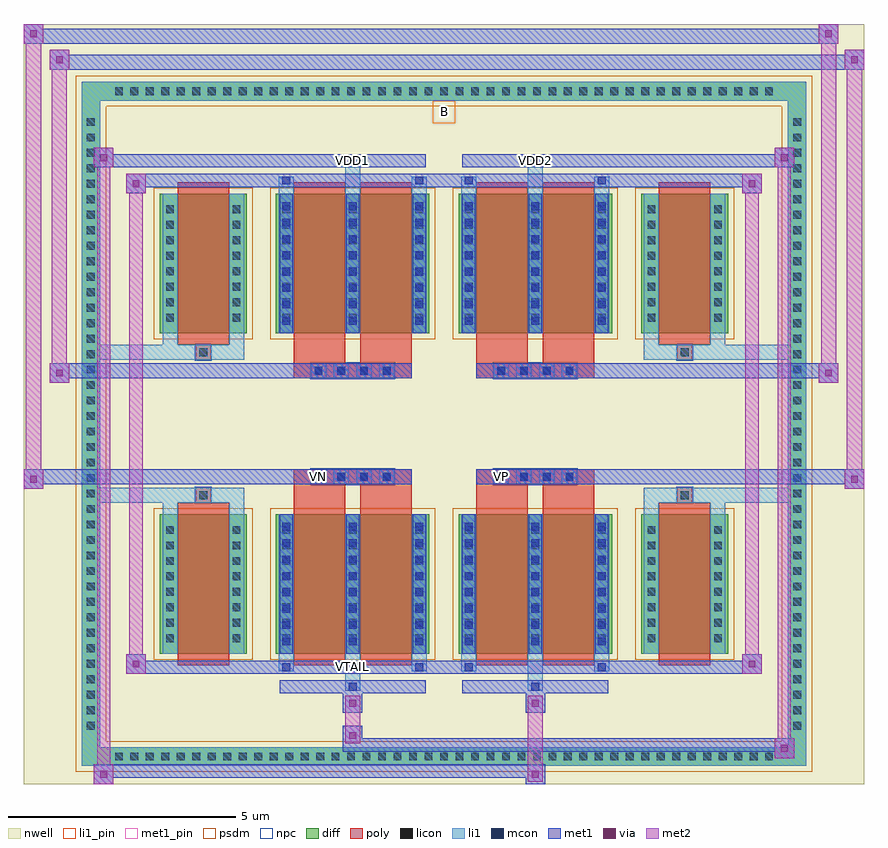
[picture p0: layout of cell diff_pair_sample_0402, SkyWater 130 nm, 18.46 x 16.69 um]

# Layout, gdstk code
import gdstk
lib = gdstk.Library(unit=1e-6, precision=5e-09)
def R(c, l, rs):  # rectangles x0, y0, x1, y1
    for r in rs: c.add(gdstk.rectangle(r[:2], r[2:], *l))
def A(c, l, x, y, w, h, nx, ny, dx, dy):  # array of equal rectangles
    R(c, l, [(x+i*dx, y+j*dy, x+i*dx+w, y+j*dy+h) for i in range(nx) for j in range(ny)])
def P(c, l, *ps):  # polygons
    for p in ps: c.add(gdstk.Polygon(p, *l))
nwell = (64, 20)
diff = (65, 20)
poly = (66, 20)
licon = (66, 44)
li1_pin = (67, 16)
li1 = (67, 20)
mcon = (67, 44)
met1_pin = (68, 16)
met1 = (68, 20)
via = (68, 44)
met2 = (69, 20)
psdm = (94, 20)
npc = (95, 20)

diff_pair_sample_0402 = lib.new_cell('diff_pair_sample_0402')
R(diff_pair_sample_0402, nwell, [(-9.23,-7.91,9.23,8.78), (-6.55,-6.1,-0.01,-0.8), (0.01,-6.1,6.55,-0.8), (-6.55,0.8,-0.01,6.1), (0.01,0.8,6.55,6.1)])
A(diff_pair_sample_0402, diff, -7.345, -7.51, 0.41, 0.41, 43, 2, 0.34, 14.61)
A(diff_pair_sample_0402, diff, -7.96, -6.835, 0.41, 0.41, 1, 40, 0, 0.34)
A(diff_pair_sample_0402, diff, 7.55, -6.835, 0.41, 0.41, 1, 40, 0, 0.34)
R(diff_pair_sample_0402, diff, [(-7.345,-7.51,7.345,-7.1), (-7.96,-6.835,-7.55,6.835), (7.55,-6.835,7.96,6.835), (-6.24,-5.055,-4.33,-1.985), (-3.69,-5.055,-0.32,-1.985), (0.32,-5.055,3.69,-1.985), (4.33,-5.055,6.24,-1.985), (-6.24,1.985,-4.33,5.055), (-3.69,1.985,-0.32,5.055), (0.32,1.985,3.69,5.055), (4.33,1.985,6.24,5.055), (-7.345,7.1,7.345,7.51)])
P(diff_pair_sample_0402, diff, [(7.96,7.51),(-7.96,7.51),(-7.96,-7.1),(-7.55,-7.1),(-7.55,7.1),(7.55,7.1),(7.55,-7.1),(-7.55,-7.1),(-7.96,-7.1),(-7.96,-7.51),(7.96,-7.51)])
A(diff_pair_sample_0402, poly, -2.92, -1.33, 0.33, 0.33, 4, 2, 0.5, 2.33)
A(diff_pair_sample_0402, poly, 1.09, -1.33, 0.33, 0.33, 4, 2, 0.5, 2.33)
R(diff_pair_sample_0402, poly, [(-5.85,-5.305,-4.72,-1.735), (-3.3,-5.305,-2.17,-1.735), (-1.84,-5.305,-0.71,-1.735), (0.71,-5.305,1.84,-1.735), (2.17,-5.305,3.3,-1.735), (4.72,-5.305,5.85,-1.735), (-5.45,-1.735,-5.12,-1.405), (-5.45,-1.735,-5.12,-1.405), (-3.3,-1.735,-2.17,-1.33), (-1.84,-1.735,-0.71,-1.33), (0.71,-1.735,1.84,-1.33), (2.17,-1.735,3.3,-1.33), (5.12,-1.735,5.45,-1.405), (5.12,-1.735,5.45,-1.405), (-3.3,-1.33,-0.71,-1), (0.71,-1.33,3.3,-1), (-3.3,1,-0.71,1.33), (0.71,1,3.3,1.33), (-3.3,1.33,-2.17,1.735), (-1.84,1.33,-0.71,1.735), (0.71,1.33,1.84,1.735), (2.17,1.33,3.3,1.735), (-5.45,1.405,-5.12,1.735), (-5.45,1.405,-5.12,1.735), (5.12,1.405,5.45,1.735), (5.12,1.405,5.45,1.735), (-5.85,1.735,-4.72,5.305), (-3.3,1.735,-2.17,5.305), (-1.84,1.735,-0.71,5.305), (0.71,1.735,1.84,5.305), (2.17,1.735,3.3,5.305), (4.72,1.735,5.85,5.305)])
A(diff_pair_sample_0402, licon, -7.225, -7.39, 0.17, 0.17, 43, 2, 0.34, 14.61)
A(diff_pair_sample_0402, licon, -7.84, -6.715, 0.17, 0.17, 1, 40, 0, 0.34)
A(diff_pair_sample_0402, licon, 7.67, -6.715, 0.17, 0.17, 1, 40, 0, 0.34)
A(diff_pair_sample_0402, licon, -6.1, -4.795, 0.17, 0.17, 1, 8, 0, 0.34)
A(diff_pair_sample_0402, licon, -4.64, -4.795, 0.17, 0.17, 1, 8, 0, 0.34)
A(diff_pair_sample_0402, licon, -3.55, -4.795, 0.17, 0.17, 3, 8, 1.46, 0.34)
A(diff_pair_sample_0402, licon, 0.46, -4.795, 0.17, 0.17, 3, 8, 1.46, 0.34)
A(diff_pair_sample_0402, licon, 4.47, -4.795, 0.17, 0.17, 1, 8, 0, 0.34)
A(diff_pair_sample_0402, licon, 5.93, -4.795, 0.17, 0.17, 1, 8, 0, 0.34)
A(diff_pair_sample_0402, licon, -2.84, -1.25, 0.17, 0.17, 4, 2, 0.5, 2.33)
A(diff_pair_sample_0402, licon, 1.17, -1.25, 0.17, 0.17, 4, 2, 0.5, 2.33)
A(diff_pair_sample_0402, licon, -6.1, 2.245, 0.17, 0.17, 1, 8, 0, 0.34)
A(diff_pair_sample_0402, licon, -4.64, 2.245, 0.17, 0.17, 1, 8, 0, 0.34)
A(diff_pair_sample_0402, licon, -3.55, 2.245, 0.17, 0.17, 3, 8, 1.46, 0.34)
A(diff_pair_sample_0402, licon, 0.46, 2.245, 0.17, 0.17, 3, 8, 1.46, 0.34)
A(diff_pair_sample_0402, licon, 4.47, 2.245, 0.17, 0.17, 1, 8, 0, 0.34)
A(diff_pair_sample_0402, licon, 5.93, 2.245, 0.17, 0.17, 1, 8, 0, 0.34)
R(diff_pair_sample_0402, licon, [(-5.37,-1.655,-5.2,-1.485), (5.2,-1.655,5.37,-1.485), (-5.37,1.485,-5.2,1.655), (5.2,1.485,5.37,1.655)])
R(diff_pair_sample_0402, li1_pin, [(-0.25,6.6,0.25,7.1)])
A(diff_pair_sample_0402, li1, -7.305, -7.47, 0.33, 0.33, 43, 2, 0.34, 14.61)
A(diff_pair_sample_0402, li1, -7.92, -6.795, 0.33, 0.33, 1, 40, 0, 0.34)
A(diff_pair_sample_0402, li1, 7.59, -6.795, 0.33, 0.33, 1, 40, 0, 0.34)
A(diff_pair_sample_0402, li1, -3.63, -5.055, 0.33, 3.07, 3, 2, 1.46, 7.04)
A(diff_pair_sample_0402, li1, 0.38, -5.055, 0.33, 3.07, 3, 2, 1.46, 7.04)
A(diff_pair_sample_0402, li1, -6.18, -4.875, 0.33, 0.33, 1, 8, 0, 0.34)
A(diff_pair_sample_0402, li1, -4.72, -4.875, 0.33, 0.33, 1, 8, 0, 0.34)
A(diff_pair_sample_0402, li1, -3.63, -4.875, 0.33, 0.33, 3, 8, 1.46, 0.34)
A(diff_pair_sample_0402, li1, 0.38, -4.875, 0.33, 0.33, 3, 8, 1.46, 0.34)
A(diff_pair_sample_0402, li1, 4.39, -4.875, 0.33, 0.33, 1, 8, 0, 0.34)
A(diff_pair_sample_0402, li1, 5.85, -4.875, 0.33, 0.33, 1, 8, 0, 0.34)
A(diff_pair_sample_0402, li1, -3.55, -4.865, 0.17, 0.17, 3, 8, 1.46, 0.36)
A(diff_pair_sample_0402, li1, -3.55, -4.865, 0.17, 2.69, 3, 2, 1.46, 7.04)
A(diff_pair_sample_0402, li1, 0.46, -4.865, 0.17, 0.17, 3, 8, 1.46, 0.36)
A(diff_pair_sample_0402, li1, 0.46, -4.865, 0.17, 2.69, 3, 2, 1.46, 7.04)
A(diff_pair_sample_0402, li1, -2.92, -1.33, 0.33, 0.33, 4, 2, 0.5, 2.33)
A(diff_pair_sample_0402, li1, 1.09, -1.33, 0.33, 0.33, 4, 2, 0.5, 2.33)
A(diff_pair_sample_0402, li1, -6.18, 2.165, 0.33, 0.33, 1, 8, 0, 0.34)
A(diff_pair_sample_0402, li1, -4.72, 2.165, 0.33, 0.33, 1, 8, 0, 0.34)
A(diff_pair_sample_0402, li1, -3.63, 2.165, 0.33, 0.33, 3, 8, 1.46, 0.34)
A(diff_pair_sample_0402, li1, 0.38, 2.165, 0.33, 0.33, 3, 8, 1.46, 0.34)
A(diff_pair_sample_0402, li1, 4.39, 2.165, 0.33, 0.33, 1, 8, 0, 0.34)
A(diff_pair_sample_0402, li1, 5.85, 2.165, 0.33, 0.33, 1, 8, 0, 0.34)
A(diff_pair_sample_0402, li1, -3.55, 2.175, 0.17, 0.17, 3, 8, 1.46, 0.36)
A(diff_pair_sample_0402, li1, 0.46, 2.175, 0.17, 0.17, 3, 8, 1.46, 0.36)
R(diff_pair_sample_0402, li1, [(-7.96,-7.51,-7.55,-7.1), (-7.96,-7.51,-7.55,-7.1), (-7.55,-7.51,7.55,-7.1), (7.55,-7.51,7.96,-7.1), (7.55,-7.51,7.96,-7.1), (-7.96,-7.1,-7.55,7.1), (7.55,-7.1,7.96,7.1), (-2.17,-5.86,-1.84,-5.055), (-2.09,-5.86,-1.92,-5.69), (1.84,-5.86,2.17,-5.055), (1.92,-5.86,2.09,-5.69), (-3.63,-5.43,-3.3,-5.055), (-3.55,-5.43,-3.38,-5.26), (-0.71,-5.43,-0.38,-5.055), (-0.63,-5.43,-0.46,-5.26), (0.38,-5.43,0.71,-5.055), (0.46,-5.43,0.63,-5.26), (3.3,-5.43,3.63,-5.055), (3.38,-5.43,3.55,-5.26), (-6.18,-5.055,-5.85,-1.985), (-4.72,-5.055,-4.39,-1.985), (4.39,-5.055,4.72,-1.985), (5.85,-5.055,6.18,-1.985), (-6.18,-1.985,-5.85,-1.405), (-4.72,-1.985,-4.39,-1.405), (4.39,-1.985,4.72,-1.405), (5.85,-1.985,6.18,-1.405), (-7.96,-1.735,-5.45,-1.405), (-6.18,-1.735,-5.45,-1.405), (-5.45,-1.735,-5.12,-1.405), (-5.12,-1.735,-4.39,-1.405), (4.39,-1.735,5.12,-1.405), (5.12,-1.735,5.45,-1.405), (5.12,-1.735,7.96,-1.405), (5.45,-1.735,6.18,-1.405), (-7.96,1.405,-5.45,1.735), (-6.18,1.405,-5.45,1.735), (-6.18,1.405,-5.85,1.985), (-5.45,1.405,-5.12,1.735), (-5.12,1.405,-4.39,1.735), (-4.72,1.405,-4.39,1.985), (4.39,1.405,5.12,1.735), (4.39,1.405,4.72,1.985), (5.12,1.405,5.45,1.735), (5.12,1.405,7.96,1.735), (5.45,1.405,6.18,1.735), (5.85,1.405,6.18,1.985), (-6.18,1.985,-5.85,5.055), (-4.72,1.985,-4.39,5.055), (4.39,1.985,4.72,5.055), (5.85,1.985,6.18,5.055), (-3.63,5.055,-3.3,5.43), (-2.17,5.055,-1.84,5.86), (-0.71,5.055,-0.38,5.43), (0.38,5.055,0.71,5.43), (1.84,5.055,2.17,5.86), (3.3,5.055,3.63,5.43), (-3.55,5.26,-3.38,5.43), (-0.63,5.26,-0.46,5.43), (0.46,5.26,0.63,5.43), (3.38,5.26,3.55,5.43), (-2.09,5.69,-1.92,5.86), (1.92,5.69,2.09,5.86), (-7.96,7.1,-7.55,7.51), (-7.96,7.1,-7.55,7.51), (-7.55,7.1,7.55,7.51), (7.55,7.1,7.96,7.51), (7.55,7.1,7.96,7.51)])
A(diff_pair_sample_0402, mcon, -3.55, -4.865, 0.17, 0.17, 3, 8, 1.46, 0.36)
A(diff_pair_sample_0402, mcon, 0.46, -4.865, 0.17, 0.17, 3, 8, 1.46, 0.36)
A(diff_pair_sample_0402, mcon, -2.84, -1.25, 0.17, 0.17, 4, 2, 0.5, 2.33)
A(diff_pair_sample_0402, mcon, 1.17, -1.25, 0.17, 0.17, 4, 2, 0.5, 2.33)
A(diff_pair_sample_0402, mcon, -3.55, 2.175, 0.17, 0.17, 3, 8, 1.46, 0.36)
A(diff_pair_sample_0402, mcon, 0.46, 2.175, 0.17, 0.17, 3, 8, 1.46, 0.36)
R(diff_pair_sample_0402, mcon, [(-2.09,-5.86,-1.92,-5.69), (1.92,-5.86,2.09,-5.69), (-3.55,-5.43,-3.38,-5.26), (-0.63,-5.43,-0.46,-5.26), (0.46,-5.43,0.63,-5.26), (3.38,-5.43,3.55,-5.26), (-3.55,5.26,-3.38,5.43), (-0.63,5.26,-0.46,5.43), (0.46,5.26,0.63,5.43), (3.38,5.26,3.55,5.43), (-2.09,5.69,-1.92,5.86), (1.92,5.69,2.09,5.86)])
R(diff_pair_sample_0402, met1_pin, [(-2.14,-5.47,-1.87,-5.2), (-2.89,-1.29,-2.62,-1.02), (1.12,-1.29,1.39,-1.02), (-2.14,5.65,-1.87,5.92), (1.87,5.65,2.14,5.92)])
A(diff_pair_sample_0402, met1, -3.61, -5.055, 0.29, 3.07, 3, 2, 1.46, 7.04)
A(diff_pair_sample_0402, met1, 0.4, -5.055, 0.29, 3.07, 3, 2, 1.46, 7.04)
A(diff_pair_sample_0402, met1, -3.61, -4.925, 0.29, 0.29, 3, 8, 1.46, 0.36)
A(diff_pair_sample_0402, met1, 0.4, -4.925, 0.29, 0.29, 3, 8, 1.46, 0.36)
A(diff_pair_sample_0402, met1, -2.9, -1.31, 0.29, 0.29, 4, 2, 0.5, 2.33)
A(diff_pair_sample_0402, met1, 1.11, -1.31, 0.29, 0.29, 4, 2, 0.5, 2.33)
A(diff_pair_sample_0402, met1, -3.61, 2.115, 0.29, 0.29, 3, 8, 1.46, 0.36)
A(diff_pair_sample_0402, met1, 0.4, 2.115, 0.29, 0.29, 3, 8, 1.46, 0.36)
R(diff_pair_sample_0402, met1, [(-7.69,-7.91,-7.26,-7.48), (1.79,-7.91,2.22,-7.48), (-7.69,-7.77,2.22,-7.48), (7.26,-7.34,7.69,-6.91), (-2.22,-7.2,7.69,-6.91), (-2.22,-7.06,-1.79,-6.63), (-2.22,-6.35,-1.79,-5.92), (1.79,-6.35,2.22,-5.92), (-3.61,-5.92,-0.4,-5.63), (-2.15,-5.92,-1.86,-5.63), (0.4,-5.92,3.61,-5.63), (1.86,-5.92,2.15,-5.63), (-6.98,-5.49,-6.55,-5.06), (-6.98,-5.49,-3.61,-5.2), (-3.61,-5.49,-3.32,-5.2), (-3.61,-5.49,-0.4,-5.2), (-0.69,-5.49,-0.4,-5.2), (-0.4,-5.49,0.4,-5.2), (0.4,-5.49,0.69,-5.2), (0.4,-5.49,3.61,-5.2), (3.32,-5.49,3.61,-5.2), (3.61,-5.49,6.98,-5.2), (6.55,-5.49,6.98,-5.06), (-9.23,-1.43,-8.8,-1), (8.8,-1.43,9.23,-1), (-9.23,-1.33,-0.71,-1), (-3.3,-1.33,-0.71,-1), (0.71,-1.33,3.3,-1), (0.71,-1.33,9.23,-1), (-8.66,0.9,-8.23,1.33), (8.23,0.9,8.66,1.33), (-8.66,1,-3.3,1.33), (-3.3,1,-0.71,1.33), (0.71,1,3.3,1.33), (3.3,1,8.66,1.33), (-6.98,5.06,-6.55,5.49), (6.55,5.06,6.98,5.49), (-6.98,5.2,-3.61,5.49), (-3.61,5.2,-3.32,5.49), (-3.61,5.2,-0.4,5.49), (-0.69,5.2,-0.4,5.49), (-0.4,5.2,0.4,5.49), (0.4,5.2,0.69,5.49), (0.4,5.2,3.61,5.49), (3.32,5.2,3.61,5.49), (3.61,5.2,6.98,5.49), (-7.69,5.63,-7.26,6.06), (-7.69,5.63,-3.61,5.92), (-3.61,5.63,-0.4,5.92), (-2.15,5.63,-1.86,5.92), (0.4,5.63,3.61,5.92), (1.86,5.63,2.15,5.92), (3.61,5.63,7.69,5.92), (7.26,5.63,7.69,6.06), (-8.66,7.78,-8.23,8.21), (-8.66,7.78,-6.55,8.11), (-6.55,7.78,6.55,8.11), (6.55,7.78,9.23,8.11), (8.8,7.78,9.23,8.21), (-9.23,8.35,-8.8,8.78), (-9.23,8.35,-6.55,8.68), (-6.55,8.35,6.55,8.68), (6.55,8.35,8.66,8.68), (8.23,8.35,8.66,8.78)])
R(diff_pair_sample_0402, via, [(-7.55,-7.77,-7.4,-7.62), (1.93,-7.77,2.08,-7.62), (7.4,-7.2,7.55,-7.05), (-2.08,-6.92,-1.93,-6.77), (-2.08,-6.21,-1.93,-6.06), (1.93,-6.21,2.08,-6.06), (-6.84,-5.35,-6.69,-5.2), (6.69,-5.35,6.84,-5.2), (-9.09,-1.29,-8.94,-1.14), (8.94,-1.29,9.09,-1.14), (-8.52,1.04,-8.37,1.19), (8.37,1.04,8.52,1.19), (-6.84,5.2,-6.69,5.35), (6.69,5.2,6.84,5.35), (-7.55,5.77,-7.4,5.92), (7.4,5.77,7.55,5.92), (-8.52,7.92,-8.37,8.07), (8.94,7.92,9.09,8.07), (-9.09,8.49,-8.94,8.64), (8.37,8.49,8.52,8.64)])
R(diff_pair_sample_0402, met2, [(-7.69,-7.91,-7.26,-7.48), (-7.62,-7.91,-7.33,6.06), (-7.33,-7.91,-7.26,-7.48), (-7.64,-7.86,-7.31,-7.53), (1.84,-7.86,2.17,-7.53), (1.84,-7.53,2.17,-6.3), (7.26,-7.34,7.69,-6.91), (7.33,-7.34,7.62,6.06), (7.62,-7.34,7.69,-6.91), (7.31,-7.29,7.64,-6.96), (-2.17,-7.01,-1.84,-6.68), (-2.17,-6.68,-1.84,-6.3), (-2.17,-6.3,-1.84,-5.97), (1.84,-6.3,2.17,-5.97), (-6.98,-5.49,-6.55,-5.06), (-6.91,-5.49,-6.62,5.49), (-6.62,-5.49,-6.55,-5.06), (6.55,-5.49,6.98,-5.06), (6.62,-5.49,6.91,5.49), (6.91,-5.49,6.98,-5.06), (-6.93,-5.44,-6.6,-5.11), (6.6,-5.44,6.93,-5.11), (-9.23,-1.43,-8.8,-1), (-9.18,-1.43,-8.85,8.78), (-8.85,-1.43,-8.8,-1), (8.8,-1.43,9.23,-1), (8.85,-1.43,9.18,8.21), (9.18,-1.43,9.23,-1), (-9.18,-1.38,-8.85,-1.05), (8.85,-1.38,9.18,-1.05), (-8.66,0.9,-8.23,1.33), (-8.61,0.9,-8.28,8.21), (-8.28,0.9,-8.23,1.33), (8.23,0.9,8.66,1.33), (8.28,0.9,8.61,8.78), (8.61,0.9,8.66,1.33), (-8.61,0.95,-8.28,1.28), (8.28,0.95,8.61,1.28), (-6.98,5.06,-6.55,5.49), (-6.62,5.06,-6.55,5.49), (6.55,5.06,6.98,5.49), (6.91,5.06,6.98,5.49), (-6.93,5.11,-6.6,5.44), (6.6,5.11,6.93,5.44), (-7.69,5.63,-7.26,6.06), (-7.33,5.63,-7.26,6.06), (7.26,5.63,7.69,6.06), (7.62,5.63,7.69,6.06), (-7.64,5.68,-7.31,6.01), (7.31,5.68,7.64,6.01), (-8.66,7.78,-8.23,8.21), (-8.28,7.78,-8.23,8.21), (8.8,7.78,9.23,8.21), (9.18,7.78,9.23,8.21), (-8.61,7.83,-8.28,8.16), (8.85,7.83,9.18,8.16), (-9.23,8.35,-8.8,8.78), (-8.85,8.35,-8.8,8.78), (8.23,8.35,8.66,8.78), (8.61,8.35,8.66,8.78), (-9.18,8.4,-8.85,8.73), (8.28,8.4,8.61,8.73)])
R(diff_pair_sample_0402, psdm, [(-6.37,-5.185,-4.2,-1.855), (-3.82,-5.185,-0.19,-1.855), (0.19,-5.185,3.82,-1.855), (4.2,-5.185,6.37,-1.855), (-6.37,1.855,-4.2,5.185), (-3.82,1.855,-0.19,5.185), (0.19,1.855,3.82,5.185), (4.2,1.855,6.37,5.185)])
P(diff_pair_sample_0402, psdm, [(8.09,7.64),(-8.09,7.64),(-8.09,-6.97),(-7.42,-6.97),(-7.42,6.97),(7.42,6.97),(7.42,-6.97),(-7.42,-6.97),(-8.09,-6.97),(-8.09,-7.64),(8.09,-7.64)])
A(diff_pair_sample_0402, npc, -2.94, -1.35, 0.37, 0.37, 4, 2, 0.5, 2.33)
A(diff_pair_sample_0402, npc, 1.07, -1.35, 0.37, 0.37, 4, 2, 0.5, 2.33)
R(diff_pair_sample_0402, npc, [(-5.47,-1.755,-5.1,-1.385), (5.1,-1.755,5.47,-1.385), (-2.94,-1.35,-2.07,-0.98), (-2.94,-1.35,-2.07,-0.98), (-2.44,-1.35,-1.57,-0.98), (-2.44,-1.35,-1.57,-0.98), (-1.94,-1.35,-1.07,-0.98), (-1.94,-1.35,-1.07,-0.98), (1.07,-1.35,1.94,-0.98), (1.07,-1.35,1.94,-0.98), (1.57,-1.35,2.44,-0.98), (1.57,-1.35,2.44,-0.98), (2.07,-1.35,2.94,-0.98), (2.07,-1.35,2.94,-0.98), (-2.94,0.98,-2.07,1.35), (-2.94,0.98,-2.07,1.35), (-2.44,0.98,-1.57,1.35), (-2.44,0.98,-1.57,1.35), (-1.94,0.98,-1.07,1.35), (-1.94,0.98,-1.07,1.35), (1.07,0.98,1.94,1.35), (1.07,0.98,1.94,1.35), (1.57,0.98,2.44,1.35), (1.57,0.98,2.44,1.35), (2.07,0.98,2.94,1.35), (2.07,0.98,2.94,1.35), (-5.47,1.385,-5.1,1.755), (5.1,1.385,5.47,1.755)])
diff_pair_sample_0402.add(gdstk.Label('VTAIL', (-2.005,-5.335), layer=68, texttype=5))
diff_pair_sample_0402.add(gdstk.Label('VN', (-2.755,-1.155), layer=68, texttype=5))
diff_pair_sample_0402.add(gdstk.Label('VP', (1.255,-1.155), layer=68, texttype=5))
diff_pair_sample_0402.add(gdstk.Label('B', (0,6.85), layer=67, texttype=5))
diff_pair_sample_0402.add(gdstk.Label('VDD2', (2.005,5.785), layer=68, texttype=5))
diff_pair_sample_0402.add(gdstk.Label('VDD1', (-2.005,5.785), layer=68, texttype=5))

lib.write_gds('diff_pair_sample_0402.gds')
